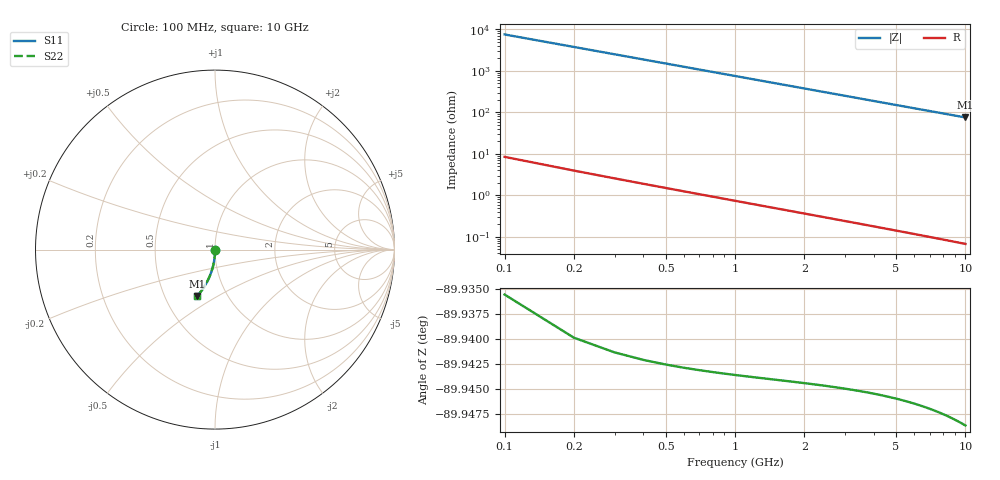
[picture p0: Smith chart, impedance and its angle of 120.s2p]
# Hz S RI R 50.00
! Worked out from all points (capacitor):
!   100 points, 100 MHz to 10 GHz, reference 50 ohm
!   read as one part in shunt: C = 212 fF near 100 MHz
!   lowest |Z| = 75.3 ohm at 10 GHz (marker M1)
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1e8  0.000263 -0.0029  0.9997 -0.00376  0.9997 -0.00376  0.000263 -0.0029
2e8  0.000229 -0.0058  0.9997 -0.00752  0.9997 -0.00752  0.000229 -0.0058
3e8  0.000172 -0.00869  0.9996 -0.0113  0.9996 -0.0113  0.000172 -0.00869
4e8  9.41e-05 -0.0116  0.9995 -0.015  0.9995 -0.015  9.41e-05 -0.0116
5e8  -6.13e-06 -0.0145  0.9994 -0.0188  0.9994 -0.0188  -6.13e-06 -0.0145
6e8  -0.000128 -0.0174  0.9993 -0.0225  0.9993 -0.0225  -0.000128 -0.0174
7e8  -0.000272 -0.0203  0.9991 -0.0263  0.9991 -0.0263  -0.000272 -0.0203
8e8  -0.000438 -0.0232  0.999 -0.03  0.999 -0.03  -0.000438 -0.0232
9e8  -0.000626 -0.0261  0.9988 -0.0338  0.9988 -0.0338  -0.000626 -0.0261
1.1e9  -0.00107 -0.0318  0.9983 -0.0413  0.9983 -0.0413  -0.00107 -0.0318
1.4e9  -0.00189 -0.0405  0.9975 -0.0525  0.9975 -0.0525  -0.00189 -0.0405
1.8e9  -0.00329 -0.052  0.996 -0.0675  0.996 -0.0675  -0.00329 -0.052
2.1e9  -0.00456 -0.0606  0.9947 -0.0786  0.9947 -0.0786  -0.00456 -0.0606
2.5e9  -0.00656 -0.072  0.9926 -0.0935  0.9926 -0.0935  -0.00656 -0.072
2.9e9  -0.0089 -0.0833  0.9902 -0.1082  0.9902 -0.1082  -0.0089 -0.0833
3.4e9  -0.0123 -0.0973  0.9867 -0.1266  0.9867 -0.1266  -0.0123 -0.0973
4.2e9  -0.0188 -0.1194  0.98 -0.1555  0.98 -0.1555  -0.0188 -0.1194
5.1e9  -0.0276 -0.1436  0.9708 -0.1875  0.9708 -0.1875  -0.0276 -0.1436
5.9e9  -0.0367 -0.1644  0.9614 -0.2153  0.9614 -0.2153  -0.0367 -0.1644
6.7e9  -0.047 -0.1846  0.9507 -0.2424  0.9507 -0.2424  -0.047 -0.1846
8.4e9  -0.0723 -0.2248  0.9244 -0.2975  0.9244 -0.2975  -0.0723 -0.2248
1e10  -0.0999 -0.2589  0.8957 -0.3456  0.8957 -0.3456  -0.0999 -0.2589
